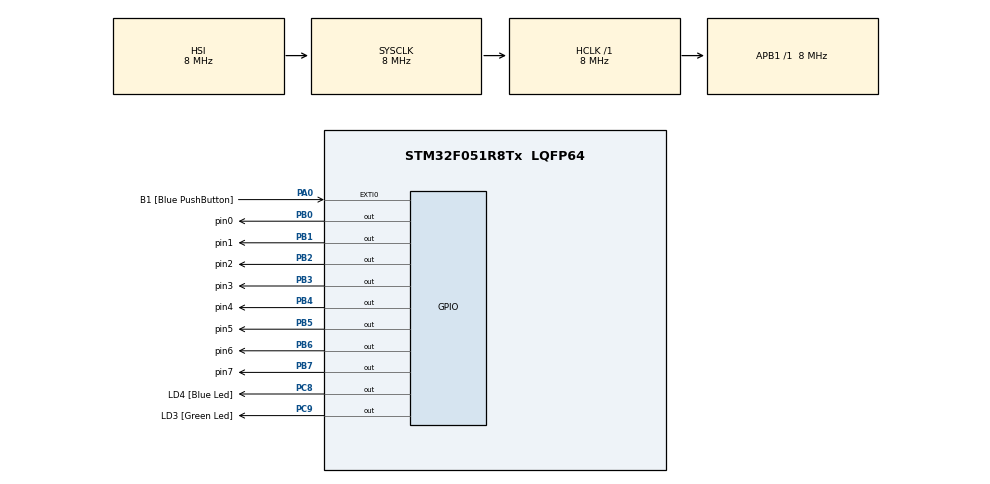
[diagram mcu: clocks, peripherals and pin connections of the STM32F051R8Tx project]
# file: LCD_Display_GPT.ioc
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Mcu.Family=STM32F0
Mcu.Name=STM32F051R8Tx
Mcu.Package=LQFP64
PA0.GPIO_Label=B1 [Blue PushButton]
PA0.GPIO_ModeDefaultEXTI=GPIO_MODE_EVT_RISING
PA0.Signal=GPXTI0
PA13.GPIO_Label=SWDIO
PA13.Signal=SYS_SWDIO
PA14.GPIO_Label=SWCLK
PA14.Signal=SYS_SWCLK
PB0.GPIO_Label=pin0
PB0.Signal=GPIO_Output
PB1.GPIO_Label=pin1
PB1.Signal=GPIO_Output
PB2.GPIO_Label=pin2
PB2.Signal=GPIO_Output
PB3.GPIO_Label=pin3
PB3.Signal=GPIO_Output
PB4.GPIO_Label=pin4
PB4.Signal=GPIO_Output
PB5.GPIO_Label=pin5
PB5.Signal=GPIO_Output
PB6.GPIO_Label=pin6
PB6.Signal=GPIO_Output
PB7.GPIO_Label=pin7
PB7.Signal=GPIO_Output
PC8.GPIO_Label=LD4 [Blue Led]
PC8.Signal=GPIO_Output
PC9.GPIO_Label=LD3 [Green Led]
PC9.Signal=GPIO_Output
ProjectManager.HeapSize=0x200
ProjectManager.StackSize=0x400
ProjectManager.TargetToolchain=STM32CubeIDE
RCC.AHBFreq_Value=8000000
RCC.APB1Freq_Value=8000000
RCC.APB1TimFreq_Value=8000000
RCC.HCLKFreq_Value=8000000
RCC.PLLMUL=RCC_PLL_MUL12
RCC.SYSCLKFreq_VALUE=8000000
board=STM32F0DISCOVERY

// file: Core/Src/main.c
/* USER CODE BEGIN Header */
/**
  ******************************************************************************
  * @file           : main.c
  * @brief          : Main program body
  ******************************************************************************
  * @attention
  *
  * <h2><center>&copy; Copyright (c) 2023 STMicroelectronics.
  * All rights reserved.</center></h2>
  *
  * This software component is licensed by ST under BSD 3-Clause license,
  * the "License"; You may not use this file except in compliance with the
  * License. You may obtain a copy of the License at:
  *                        opensource.org/licenses/BSD-3-Clause
  *
  ******************************************************************************
  */
/* USER CODE END Header */
#include "main.h"

/* USER CODE BEGIN Includes */
//#define LCD_RS_PINc8      GPIO_PIN_8
//#define LCD_RS_PORTc     GPIOC

#define LCD_RS_PIN      GPIO_PIN_0
#define LCD_RS_PORT     GPIOB
#define LCD_RW_PIN      GPIO_PIN_1
#define LCD_RW_PORT     GPIOB
#define LCD_EN_PIN      GPIO_PIN_2
#define LCD_EN_PORT     GPIOB

//#define LCD_DATA_PORT   GPIOB

#define LCD_D4_PIN      GPIO_PIN_3
#define LCD_D4_PORT     GPIOB
#define LCD_D5_PIN      GPIO_PIN_4
#define LCD_D5_PORT     GPIOB
#define LCD_D6_PIN      GPIO_PIN_5
#define LCD_D6_PORT     GPIOB
#define LCD_D7_PIN      GPIO_PIN_6
#define LCD_D7_PORT     GPIOB

#define LCD_D0_PIN      GPIO_PIN_0
#define LCD_D0_PORT     GPIOC
#define LCD_D1_PIN      GPIO_PIN_1
#define LCD_D1_PORT     GPIOC
#define LCD_D2_PIN      GPIO_PIN_2
#define LCD_D2_PORT     GPIOC
#define LCD_D3_PIN      GPIO_PIN_3
#define LCD_D3_PORT     GPIOC
/* USER CODE END Includes */

void SystemClock_Config(void);
static void MX_GPIO_Init(void);

/* USER CODE BEGIN 0 */
void LCD_SendCommand(uint8_t command) {
    HAL_GPIO_WritePin(LCD_RS_PORT, LCD_RS_PIN, GPIO_PIN_RESET);   // RS = 0 (Command mode)
    HAL_GPIO_WritePin(LCD_RW_PORT, LCD_RW_PIN, GPIO_PIN_RESET);   // RW = 0 (Write mode)

    	//0-3 pin of port c
    	HAL_GPIO_WritePin(LCD_D0_PORT, LCD_D0_PIN, (command >> 0) & 0x01);
        HAL_GPIO_WritePin(LCD_D1_PORT, LCD_D1_PIN, (command >> 1) & 0x01);
        HAL_GPIO_WritePin(LCD_D2_PORT, LCD_D2_PIN, (command >> 2) & 0x01);
        HAL_GPIO_WritePin(LCD_D3_PORT, LCD_D3_PIN, (command >> 3) & 0x01);
    //4-7 pin of port B
    HAL_GPIO_WritePin(LCD_D4_PORT, LCD_D4_PIN, (command >> 4) & 0x01);
    HAL_GPIO_WritePin(LCD_D5_PORT, LCD_D5_PIN, (command >> 5) & 0x01);
    HAL_GPIO_WritePin(LCD_D6_PORT, LCD_D6_PIN, (command >> 6) & 0x01);
    HAL_GPIO_WritePin(LCD_D7_PORT, LCD_D7_PIN, (command >> 7) & 0x01);

    HAL_GPIO_WritePin(LCD_EN_PORT, LCD_EN_PIN, GPIO_PIN_SET);
    HAL_Delay(1);
    HAL_GPIO_WritePin(LCD_EN_PORT, LCD_EN_PIN, GPIO_PIN_RESET);

//    HAL_GPIO_WritePin(LCD_D4_PORT, LCD_D4_PIN, command & 0x01);
//    HAL_GPIO_WritePin(LCD_D5_PORT, LCD_D5_PIN, (command >> 1) & 0x01);
//    HAL_GPIO_WritePin(LCD_D6_PORT, LCD_D6_PIN, (command >> 2) & 0x01);
//    HAL_GPIO_WritePin(LCD_D7_PORT, LCD_D7_PIN, (command >> 3) & 0x01);
//
//    HAL_GPIO_WritePin(LCD_EN_PORT, LCD_EN_PIN, GPIO_PIN_SET);
//    HAL_Delay(1);
//    HAL_GPIO_WritePin(LCD_EN_PORT, LCD_EN_PIN, GPIO_PIN_RESET);
    HAL_Delay(2);
}

void LCD_SendData(uint8_t data) {
	HAL_GPIO_WritePin(LCD_RS_PORT, LCD_RS_PIN, GPIO_PIN_SET);     // RS = 1 (Data mode)
	HAL_GPIO_WritePin(LCD_RW_PORT, LCD_RW_PIN, GPIO_PIN_RESET);   // RW = 0 (Write mode)
    HAL_GPIO_WritePin(LCD_EN_PORT, LCD_EN_PIN, GPIO_PIN_SET);

	//0-3
	    	HAL_GPIO_WritePin(LCD_D0_PORT, LCD_D0_PIN, (data >> 0) & 0x01);
	        HAL_GPIO_WritePin(LCD_D1_PORT, LCD_D1_PIN, (data >> 1) & 0x01);
	        HAL_GPIO_WritePin(LCD_D2_PORT, LCD_D2_PIN, (data >> 2) & 0x01);
	        HAL_GPIO_WritePin(LCD_D3_PORT, LCD_D3_PIN, (data >> 3) & 0x01);
	    //4-7
	    HAL_GPIO_WritePin(LCD_D4_PORT, LCD_D4_PIN, (data >> 4) & 0x01);
	    HAL_GPIO_WritePin(LCD_D5_PORT, LCD_D5_PIN, (data >> 5) & 0x01);
	    HAL_GPIO_WritePin(LCD_D6_PORT, LCD_D6_PIN, (data >> 6) & 0x01);
	    HAL_GPIO_WritePin(LCD_D7_PORT, LCD_D7_PIN, (data >> 7) & 0x01);
	HAL_Delay(10);
    HAL_GPIO_WritePin(LCD_EN_PORT, LCD_EN_PIN, GPIO_PIN_RESET);

}

void LCD_Init() {
    // Initialize LCD in 4-bit mode
	HAL_Delay(20);

//		LCD_SendCommand(0x01);		//Clear Display, Cursor to Home
//				    HAL_Delay(2);

		// Function Set (8-bit mode, 2 lines, 5x8 font)
	    LCD_SendCommand(0x38);    //Display Function (2 rows for 8-bit data; small)
	    HAL_Delay(5);

	    // Display ON (Cursor and blink off)
	    LCD_SendCommand(0x0C); 		//Display on, Cursor and Cursor Blink off
	    HAL_Delay(5);

	    LCD_SendCommand(0x01);		//Clear Display, Cursor to Home
	    HAL_Delay(5);

//	    LCD_SendCommand(0x10);		//Cursor shift left
//	    HAL_Delay(5);

	    // Entry Mode Set (Increment cursor, no shift)
	    LCD_SendCommand(0x06);		//Cursor Increment, Shift off
	    HAL_Delay(5);

////    // Function Set (Interface is 8 bits long.)
////    LCD_SendCommand(0x30);
////    HAL_Delay(5);
////
////    // Function Set (Interface is 8 bits long.)
////    LCD_SendCommand(0x30);
////    HAL_Delay(1);
////
////    // Function Set (Interface is 8 bits long.)
////    LCD_SendCommand(0x30);
////    HAL_Delay(1);
//
//    // Function Set (Interface is 4 bits long.)
//    LCD_SendCommand(0x20);
//    HAL_Delay(1);
//
//    // Function Set (4-bit mode, 2 lines, 5x8 font)
//    LCD_SendCommand(0x28);
//    HAL_Delay(1);
//
//    // Display OFF
//    LCD_SendCommand(0x08);
//    HAL_Delay(1);
//
//    // Clear Display
//    LCD_SendCommand(0x01);
//    HAL_Delay(2);
//
//    // Entry Mode Set (Increment cursor, no shift)
//    LCD_SendCommand(0x06);
//    HAL_Delay(1);
//
//    // Display ON (Cursor and blink off)
//    LCD_SendCommand(0x0C);
//    HAL_Delay(1);

}

void LCD_WriteString(const char* str) {
    while (*str) {
        LCD_SendData(*str++);
    }
}

/* USER CODE END 0 */

int main(void)
{
  /* USER CODE BEGIN 1 */
	// Enable GPIOB clock
  /* USER CODE END 1 */

  /* MCU Configuration--------------------------------------------------------*/

  /* Reset of all peripherals, Initializes the Flash interface and the Systick. */
  HAL_Init();

  /* USER CODE BEGIN Init */
  // Configure LCD control pins as outputs
      GPIOB->MODER |= GPIO_MODER_MODER0_0;    // RS
      GPIOB->MODER |= GPIO_MODER_MODER1_0;    // RW
      GPIOB->MODER |= GPIO_MODER_MODER2_0;    // EN

      // Configure LCD data pins as outputs
      	  	GPIOC->MODER |= GPIO_MODER_MODER0_0;    // D0
            GPIOC->MODER |= GPIO_MODER_MODER1_0;    // D1
            GPIOC->MODER |= GPIO_MODER_MODER2_0;    // D2
            GPIOC->MODER |= GPIO_MODER_MODER3_0;    // D3

      GPIOB->MODER |= GPIO_MODER_MODER3_0;    // D4
      GPIOB->MODER |= GPIO_MODER_MODER4_0;    // D5
      GPIOB->MODER |= GPIO_MODER_MODER5_0;    // D6
      GPIOB->MODER |= GPIO_MODER_MODER6_0;    // D7

  /* USER CODE END Init */

  /* Configure the system clock */
  SystemClock_Config();

  /* USER CODE BEGIN SysInit */
  LCD_Init();
  /* USER CODE END SysInit */

  /* Initialize all configured peripherals */
  MX_GPIO_Init();
  /* USER CODE BEGIN 2 */
  LCD_SendData(65);
  /* USER CODE END 2 */

  /* Infinite loop */
  while (1)
  {
//	  LCD_SendCommand(0x80);  // Set cursor to the first line
//	          LCD_WriteString("Hello, World!");
//
//	          HAL_Delay(1000);
//
//	          LCD_SendCommand(0xC0);  // Set cursor to the second line
//	          LCD_WriteString("STM32F0Discovery");
//
//	          HAL_Delay(1000);
  }
}

void SystemClock_Config(void)
{
  RCC_OscInitTypeDef RCC_OscInitStruct = {0};
  RCC_ClkInitTypeDef RCC_ClkInitStruct = {0};

  /** Initializes the RCC Oscillators according to the specified parameters
  * in the RCC_OscInitTypeDef structure.
  */
  RCC_OscInitStruct.OscillatorType = RCC_OSCILLATORTYPE_HSI;
  RCC_OscInitStruct.HSIState = RCC_HSI_ON;
  RCC_OscInitStruct.HSICalibrationValue = RCC_HSICALIBRATION_DEFAULT;
  RCC_OscInitStruct.PLL.PLLState = RCC_PLL_NONE;
  if (HAL_RCC_OscConfig(&RCC_OscInitStruct) != HAL_OK)
  {
    Error_Handler();
  }
  /** Initializes the CPU, AHB and APB buses clocks
  */
  RCC_ClkInitStruct.ClockType = RCC_CLOCKTYPE_HCLK|RCC_CLOCKTYPE_SYSCLK
                              |RCC_CLOCKTYPE_PCLK1;
  RCC_ClkInitStruct.SYSCLKSource = RCC_SYSCLKSOURCE_HSI;
  RCC_ClkInitStruct.AHBCLKDivider = RCC_SYSCLK_DIV1;
  RCC_ClkInitStruct.APB1CLKDivider = RCC_HCLK_DIV1;

  if (HAL_RCC_ClockConfig(&RCC_ClkInitStruct, FLASH_LATENCY_0) != HAL_OK)
  {
    Error_Handler();
  }
}

static void MX_GPIO_Init(void)
{
  GPIO_InitTypeDef GPIO_InitStruct = {0};

  /* GPIO Ports Clock Enable */
  __HAL_RCC_GPIOA_CLK_ENABLE();
  __HAL_RCC_GPIOB_CLK_ENABLE();
  __HAL_RCC_GPIOC_CLK_ENABLE();

  /*Configure GPIO pin Output Level */
  HAL_GPIO_WritePin(GPIOB, pin0_Pin|pin1_Pin|pin2_Pin|pin3_Pin
                          |pin4_Pin|pin5_Pin|pin6_Pin|pin7_Pin, GPIO_PIN_RESET);

  /*Configure GPIO pin Output Level */
  HAL_GPIO_WritePin(GPIOC, LD4_Pin|LD3_Pin, GPIO_PIN_RESET);

  /*Configure GPIO pin : B1_Pin */
  GPIO_InitStruct.Pin = B1_Pin;
  GPIO_InitStruct.Mode = GPIO_MODE_EVT_RISING;
  GPIO_InitStruct.Pull = GPIO_NOPULL;
  HAL_GPIO_Init(B1_GPIO_Port, &GPIO_InitStruct);

  /*Configure GPIO pins : pin0_Pin pin1_Pin pin2_Pin pin3_Pin
                           pin4_Pin pin5_Pin pin6_Pin pin7_Pin */
  GPIO_InitStruct.Pin = pin0_Pin|pin1_Pin|pin2_Pin|pin3_Pin
                          |pin4_Pin|pin5_Pin|pin6_Pin|pin7_Pin;
  GPIO_InitStruct.Mode = GPIO_MODE_OUTPUT_PP;
  GPIO_InitStruct.Pull = GPIO_NOPULL;
  GPIO_InitStruct.Speed = GPIO_SPEED_FREQ_LOW;
  HAL_GPIO_Init(GPIOB, &GPIO_InitStruct);

  /*Configure GPIO pins : LD4_Pin LD3_Pin */
  GPIO_InitStruct.Pin = LD4_Pin|LD3_Pin;
  GPIO_InitStruct.Mode = GPIO_MODE_OUTPUT_PP;
  GPIO_InitStruct.Pull = GPIO_NOPULL;
  GPIO_InitStruct.Speed = GPIO_SPEED_FREQ_LOW;
  HAL_GPIO_Init(GPIOC, &GPIO_InitStruct);

}

void Error_Handler(void)
{
  __disable_irq();
  while (1)
  {
  }
}

/************************ (C) COPYRIGHT STMicroelectronics *****END OF FILE****/
